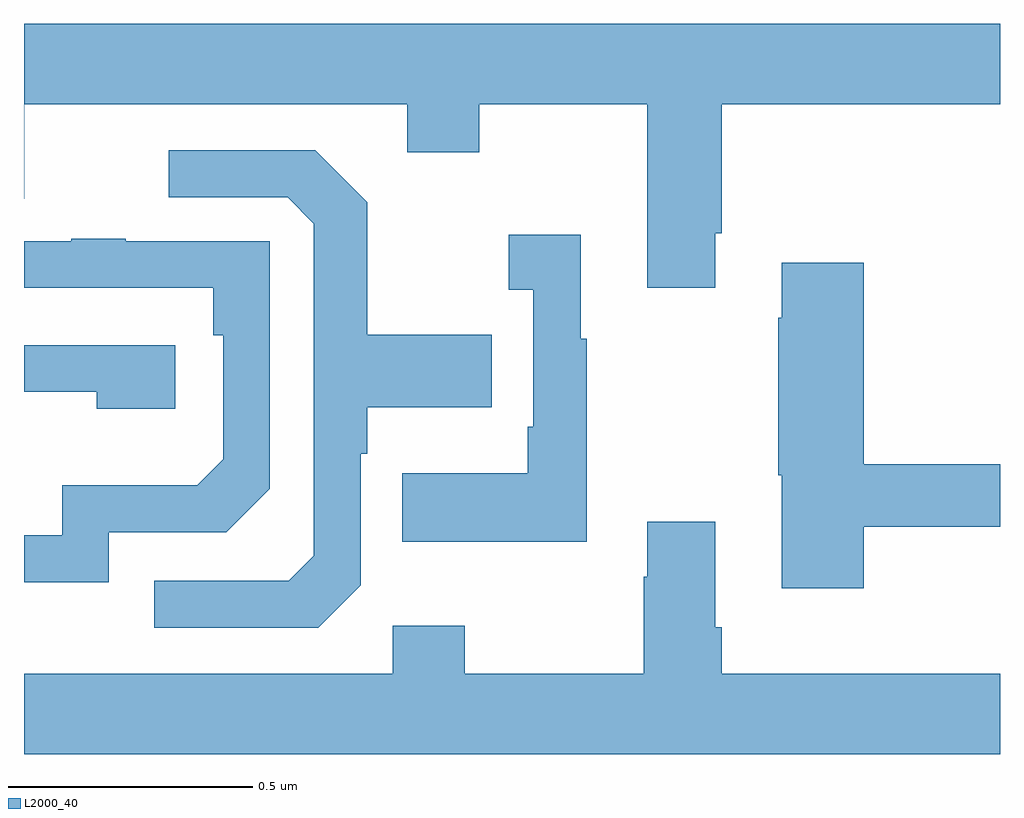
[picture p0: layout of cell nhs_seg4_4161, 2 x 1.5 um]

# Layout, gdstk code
import gdstk
lib = gdstk.Library(unit=1e-6, precision=1e-09)
def P(c, l, *ps):  # polygons
    for p in ps: c.add(gdstk.Polygon(p, *l))
L2000_40 = (2000, 40)

nhs_seg4_4161 = lib.new_cell('nhs_seg4_4161')
P(nhs_seg4_4161, L2000_40, [(163.417,791.227),(163.43,791.227),(163.43,791.492),(164,791.492),(164,791.656),(162,791.656),(162,791.298),(162.001,791.298),(162.001,791.492),(162.785,791.492),(162.785,791.393),(162.933,791.393),(162.933,791.492),(163.277,791.492),(163.277,791.115),(163.417,791.115)],
  [(162.69,790.506),(162.69,790.775),(162.703,790.775),(162.703,790.871),(162.959,790.871),(162.959,791.019),(162.703,791.019),(162.703,791.291),(162.597,791.397),(162.297,791.397),(162.297,791.301),(162.54,791.301),(162.594,791.247),(162.594,790.566),(162.543,790.515),(162.267,790.515),(162.267,790.419),(162.603,790.419)],
  [(163.153,791.011),(163.141,791.011),(163.141,791.224),(162.993,791.224),(162.993,791.111),(163.044,791.111),(163.044,790.831),(163.032,790.831),(163.032,790.735),(162.775,790.735),(162.775,790.595),(163.153,790.595)],
  [(162.174,790.614),(162.414,790.614),(162.504,790.704),(162.504,791.211),(162.209,791.211),(162.209,791.216),(162.097,791.216),(162.097,791.211),(162,791.211),(162,791.115),(162.388,791.115),(162.388,791.018),(162.408,791.018),(162.408,790.764),(162.355,790.711),(162.078,790.711),(162.078,790.608),(162,790.608),(162,790.512),(162.174,790.512)],
  [(163.721,790.626),(164,790.626),(164,790.754),(163.721,790.754),(163.721,791.167),(163.553,791.167),(163.553,791.054),(163.546,791.054),(163.546,790.731),(163.553,790.731),(163.553,790.5),(163.721,790.5)],
  [(162.31,790.998),(162,790.998),(162,790.902),(162.149,790.902),(162.149,790.868),(162.31,790.868)],
  [(164,790.324),(163.43,790.324),(163.43,790.42),(163.417,790.42),(163.417,790.636),(163.277,790.636),(163.277,790.523),(163.27,790.523),(163.27,790.324),(162.903,790.324),(162.903,790.423),(162.756,790.423),(162.756,790.324),(162,790.324),(162,790.16),(164,790.16)])

lib.write_gds('nhs_seg4_4161.gds')
